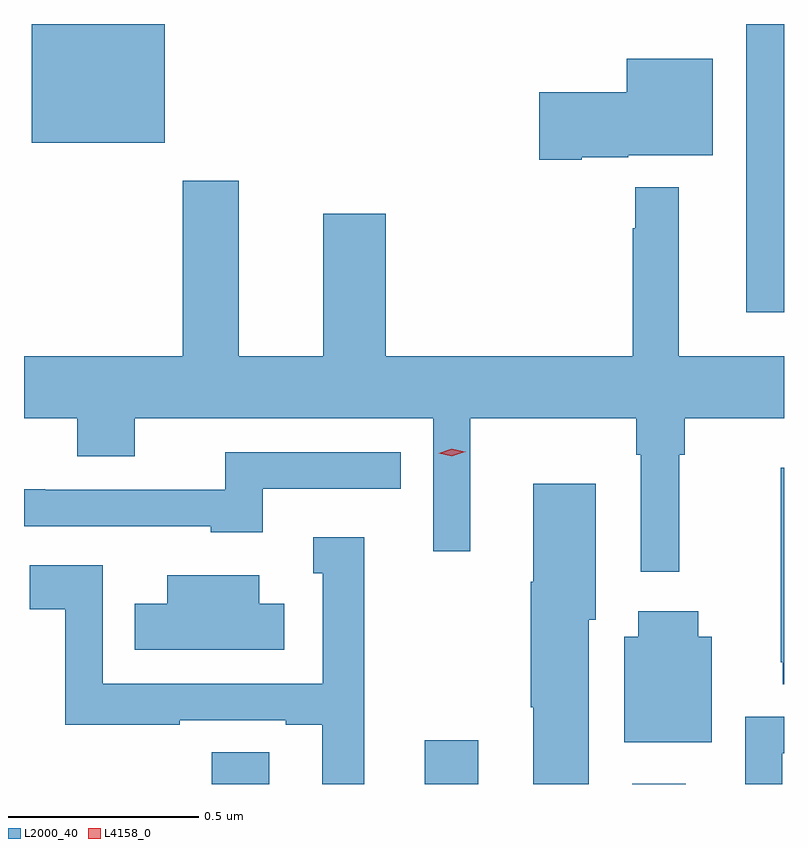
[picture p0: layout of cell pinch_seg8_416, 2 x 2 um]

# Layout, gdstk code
import gdstk
lib = gdstk.Library(unit=1e-6, precision=1e-09)
def R(c, l, rs):  # rectangles x0, y0, x1, y1
    for r in rs: c.add(gdstk.rectangle(r[:2], r[2:], *l))
def P(c, l, *ps):  # polygons
    for p in ps: c.add(gdstk.Polygon(p, *l))
L2000_40 = (2000, 40)
L4158_0 = (4158, 0)

pinch_seg8_416 = lib.new_cell('pinch_seg8_416')
R(pinch_seg8_416, L2000_40, [(524.354,1112.874,524.506,1112.957), (524.915,1112.874,525.055,1112.989), (525.461,1112.874,525.601,1112.875), (525.761,1114.115,525.86,1114.874), (523.88,1114.562,524.23,1114.874)])
P(pinch_seg8_416, L2000_40, [(525.328,1114.523),(525.45,1114.523),(525.45,1114.529),(525.673,1114.529),(525.673,1114.783),(525.446,1114.783),(525.446,1114.695),(525.216,1114.695),(525.216,1114.517),(525.328,1114.517)],
  [(525.584,1113.74),(525.599,1113.74),(525.599,1113.836),(525.86,1113.836),(525.86,1114),(525.583,1114),(525.583,1114.444),(525.469,1114.444),(525.469,1114.337),(525.462,1114.337),(525.462,1114),(524.812,1114),(524.812,1114.375),(524.648,1114.375),(524.648,1114),(524.425,1114),(524.425,1114.462),(524.278,1114.462),(524.278,1114),(523.86,1114),(523.86,1113.836),(524,1113.836),(524,1113.737),(524.152,1113.737),(524.152,1113.836),(524.937,1113.836),(524.937,1113.486),(525.034,1113.486),(525.034,1113.836),(525.471,1113.836),(525.471,1113.74),(525.483,1113.74),(525.483,1113.432),(525.584,1113.432)],
  [(524.488,1113.651),(524.852,1113.651),(524.852,1113.747),(524.389,1113.747),(524.389,1113.648),(523.916,1113.648),(523.916,1113.65),(523.86,1113.65),(523.86,1113.552),(524.352,1113.552),(524.352,1113.536),(524.488,1113.536)],
  [(525.86,1113.706),(525.851,1113.706),(525.851,1113.195),(525.857,1113.195),(525.857,1113.136),(525.86,1113.136)],
  [(525.346,1113.306),(525.364,1113.306),(525.364,1113.664),(525.2,1113.664),(525.2,1113.406),(525.193,1113.406),(525.193,1113.076),(525.2,1113.076),(525.2,1112.874),(525.346,1112.874)],
  [(524.755,1113.523),(524.621,1113.523),(524.621,1113.429),(524.646,1113.429),(524.646,1113.138),(524.067,1113.138),(524.067,1113.45),(523.875,1113.45),(523.875,1113.334),(523.969,1113.334),(523.969,1113.03),(524.27,1113.03),(524.27,1113.042),(524.549,1113.042),(524.549,1113.03),(524.645,1113.03),(524.645,1112.874),(524.755,1112.874)],
  [(524.545,1113.349),(524.479,1113.349),(524.479,1113.424),(524.237,1113.424),(524.237,1113.349),(524.152,1113.349),(524.152,1113.227),(524.545,1113.227)],
  [(525.67,1113.262),(525.634,1113.262),(525.634,1113.328),(525.476,1113.328),(525.476,1113.262),(525.44,1113.262),(525.44,1112.984),(525.67,1112.984)],
  [(525.856,1112.955),(525.86,1112.955),(525.86,1113.051),(525.758,1113.051),(525.758,1112.874),(525.856,1112.874)])
P(pinch_seg8_416, L4158_0, [(524.986,1113.736),(524.951,1113.744),(524.95,1113.744),(524.951,1113.744),(524.986,1113.756),(525.021,1113.748),(525.022,1113.748),(525.021,1113.748)])

lib.write_gds('pinch_seg8_416.gds')
